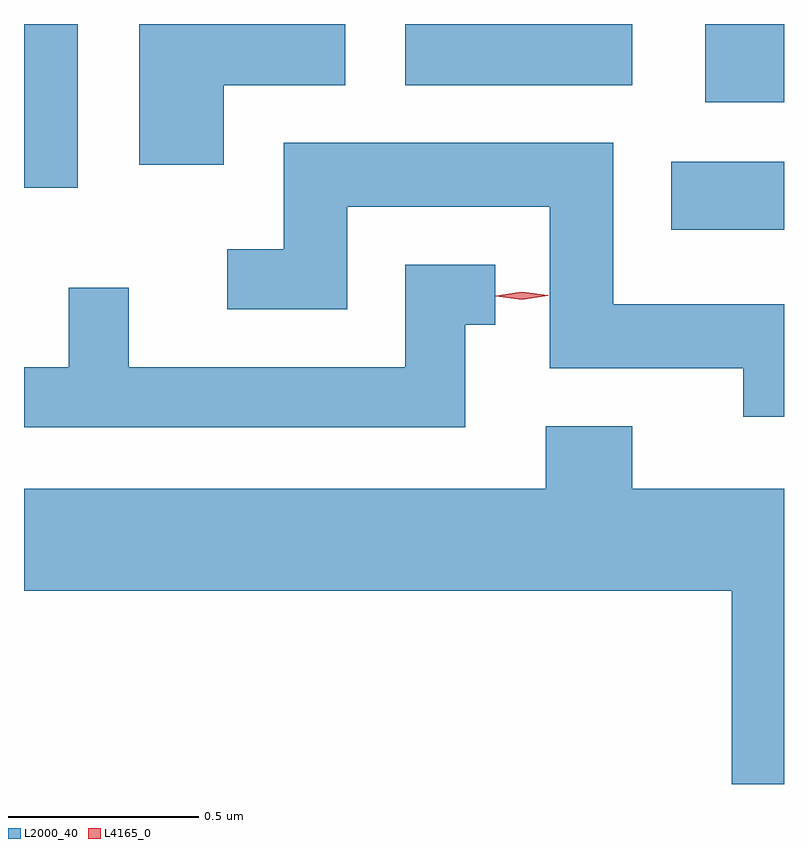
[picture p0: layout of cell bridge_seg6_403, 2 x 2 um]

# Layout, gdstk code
import gdstk
lib = gdstk.Library(unit=1e-6, precision=1e-09)
def R(c, l, rs):  # rectangles x0, y0, x1, y1
    for r in rs: c.add(gdstk.rectangle(r[:2], r[2:], *l))
def P(c, l, *ps):  # polygons
    for p in ps: c.add(gdstk.Polygon(p, *l))
L2000_40 = (2000, 40)
L4165_0 = (4165, 0)

bridge_seg6_403 = lib.new_cell('bridge_seg6_403')
R(bridge_seg6_403, L2000_40, [(972.661,1666.426,972.958,1666.604), (970.958,1666.536,971.099,1666.967), (972.751,1666.761,972.958,1666.967), (971.961,1666.806,972.559,1666.967)])
P(bridge_seg6_403, L2000_40, [(971.484,1666.806),(971.804,1666.806),(971.804,1666.967),(971.261,1666.967),(971.261,1666.596),(971.484,1666.596)],
  [(972.958,1666.229),(972.509,1666.229),(972.509,1666.654),(971.641,1666.654),(971.641,1666.374),(971.493,1666.374),(971.493,1666.216),(971.809,1666.216),(971.809,1666.486),(972.341,1666.486),(972.341,1666.061),(972.851,1666.061),(972.851,1665.933),(972.958,1665.933)],
  [(972.119,1666.176),(972.198,1666.176),(972.198,1666.334),(971.961,1666.334),(971.961,1666.064),(971.234,1666.064),(971.234,1666.273),(971.076,1666.273),(971.076,1666.064),(970.958,1666.064),(970.958,1665.906),(972.119,1665.906)],
  [(972.958,1665.744),(972.559,1665.744),(972.559,1665.909),(972.331,1665.909),(972.331,1665.744),(970.958,1665.744),(970.958,1665.476),(972.821,1665.476),(972.821,1664.967),(972.958,1664.967)])
P(bridge_seg6_403, L4165_0, [(972.268,1666.242),(972.199,1666.251),(972.199,1666.252),(972.199,1666.252),(972.268,1666.262),(972.338,1666.253),(972.338,1666.252),(972.338,1666.252)])

lib.write_gds('bridge_seg6_403.gds')
